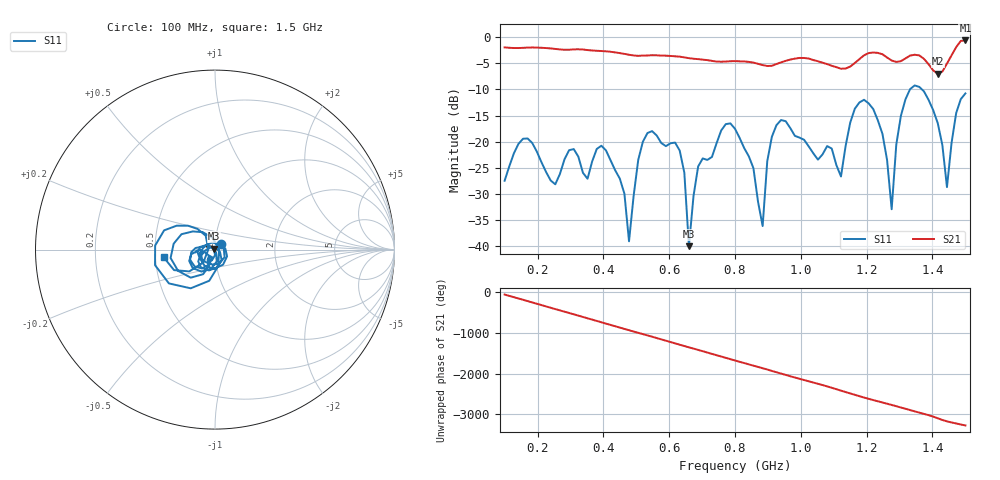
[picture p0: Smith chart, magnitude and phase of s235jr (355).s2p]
! NanoVNA-App
! Date: 2025-09-25 15:06:55
! Start: 100MHz Stop: 1,5GHz Points: 101
! S-Parameter data: F S11 S21 S12 S22
# Hz S RI R 50
!  Frequency  S11_Real  S11_Imag  S21_Real  S21_Imag  S12_Real  S12_Imag  S22_Real  S22_Imag
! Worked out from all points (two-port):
!   101 points, 100 MHz to 1.5 GHz, reference 50 ohm
!   highest |S21| = -0.64 dB at 1.5 GHz (marker M1); lowest = -7.0 dB at 1.416 GHz (marker M2)
!   |S21| within 3 dB of the highest: start of sweep to 611.6 MHz; 1.189 GHz to 1.256 GHz (67.08 MHz wide, 5.49 % of centre) (the widest 2 of 4)
!   lowest |S11| = -40.0 dB at 660 MHz (marker M3), VSWR 1.02, Z = 49.2 + j0.578 ohm
!   |S11| at or under -10 dB: start of sweep to 1.332 GHz; 1.368 GHz to end of sweep
!   S12 and S22 are empty: the file has one direction only
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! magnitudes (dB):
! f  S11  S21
! 100 MHz  -27.5  -2.0
! 156 MHz  -19.4  -2.1
! 338 MHz  -25.9  -2.4
! 408 MHz  -21.7  -2.7
! 478 MHz  -39.0  -3.4
! 520 MHz  -20.0  -3.5
! 576 MHz  -20.2  -3.5
! 632 MHz  -21.7  -3.7
! 660 MHz  -40.0  -4.0
! 688 MHz  -24.7  -4.2
! 800 MHz  -17.5  -4.6
! 884 MHz  -36.1  -5.3
! 926 MHz  -16.8  -5.1
! 1.038 GHz  -22.2  -4.4
! 1.122 GHz  -26.6  -6.0
! 1.192 GHz  -12.0  -3.5
! 1.248 GHz  -18.5  -3.3
! 1.276 GHz  -32.9  -4.5
! 1.332 GHz  -9.9  -3.5
! 1.416 GHz  -16.4  -7.0
! 1.444 GHz  -28.7  -5.1
! 1.5 GHz  -10.8  -0.6
